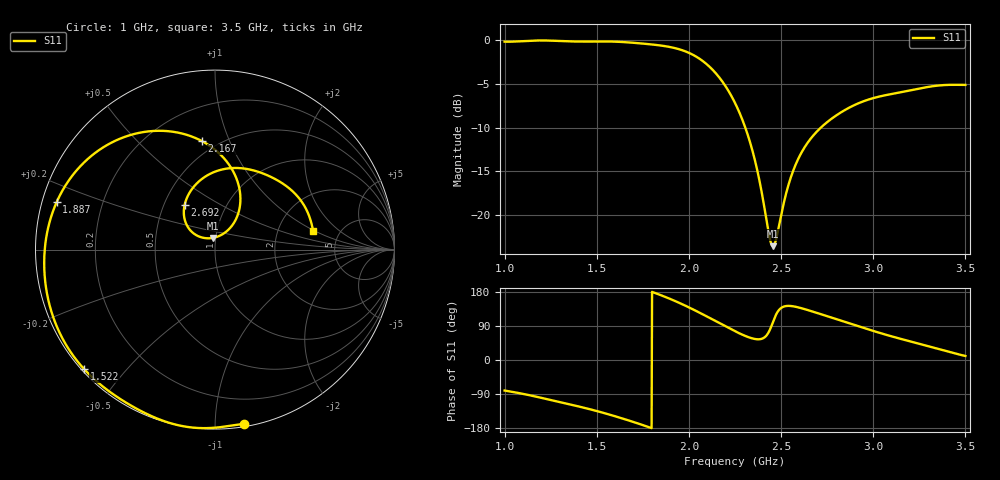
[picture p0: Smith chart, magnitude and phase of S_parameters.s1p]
! TOUCHSTONE file generated by CST MICROWAVE STUDIO
! Date and time: Wed Oct  7 17:50:40 2026
! Project name: antenna.cst
! Parameters = {substrate_tand=0.02; substrate_er=4.4; gap_mm=5; feed_start_x=24.3; series_c_pf=1.8; omit_soldermask=1; coax_pigtail=1; feed_contact_inside=1; explicit_via_pads=1; feed_x=24.85; copper_edge_clearance=0.3; housing_air=0.25; housing_wall=1; shield_extension=0; via_plating_t=0.025; via_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
! Header version: 2024
! Port assignment regex: !\s*Touchstone port\s*([0-9]+)\s*=\s*(CST MWS port|CST DES external port|CST DES block port)\s*(.+)\s* \(\"(.*)\"\)(\s*mode\s*([0-9]+))?.*
! Touchstone port assignment:
! Touchstone port 1 = CST MWS port 1 ("50 ohm edge launch reference")
# GHz S MA R 50
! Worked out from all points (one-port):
!   1001 points, 1 GHz to 3.5 GHz, reference 50 ohm
!   lowest |S11| = -23.6 dB at 2.455 GHz (marker M1), VSWR 1.14, Z = 48.6 + j6.39 ohm
!   |S11| at or under -10 dB: 2.306 GHz to 2.715 GHz (409.1 MHz wide, 16.3 % of centre)
!   S11 on the Smith chart (normalised r, x): 1 GHz: 0.02, -1.18; 1.522 GHz: 0.01, -0.39; 1.887 GHz: 0.04, +0.15; 2.167 GHz: 0.42, +0.80; 2.692 GHz: 0.64, +0.35; 3.5 GHz: 3.20, +0.95
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1  0.9841 -80.6
1.1725  0.9993 -96.9
1.3125  0.9913 -112.5
1.5225  0.9875 -137.6
1.625  0.9816 -152.2
1.765  0.9562 -174.2
1.8875  0.9211 163.4
1.9375  0.8964 153.0
2.0025  0.8468 138.2
2.06  0.7825 124.3
2.1125  0.7057 111.0
2.1675  0.6083 96.8
2.25  0.4386 75.9
2.2975  0.3349 65.1
2.3475  0.2277 56.5
2.385  0.153 54.9
2.435  0.07665 75.5
2.455  0.06626 98.9
2.4725  0.0723 119.5
2.5225  0.1269 142.0
2.5625  0.1755 141.9
2.62  0.2369 135.4
2.6925  0.2993 124.6
2.875  0.4148 96.2
3.015  0.4719 74.5
3.1875  0.5141 50.8
3.3625  0.553 27.7
3.5  0.5564 10.6
